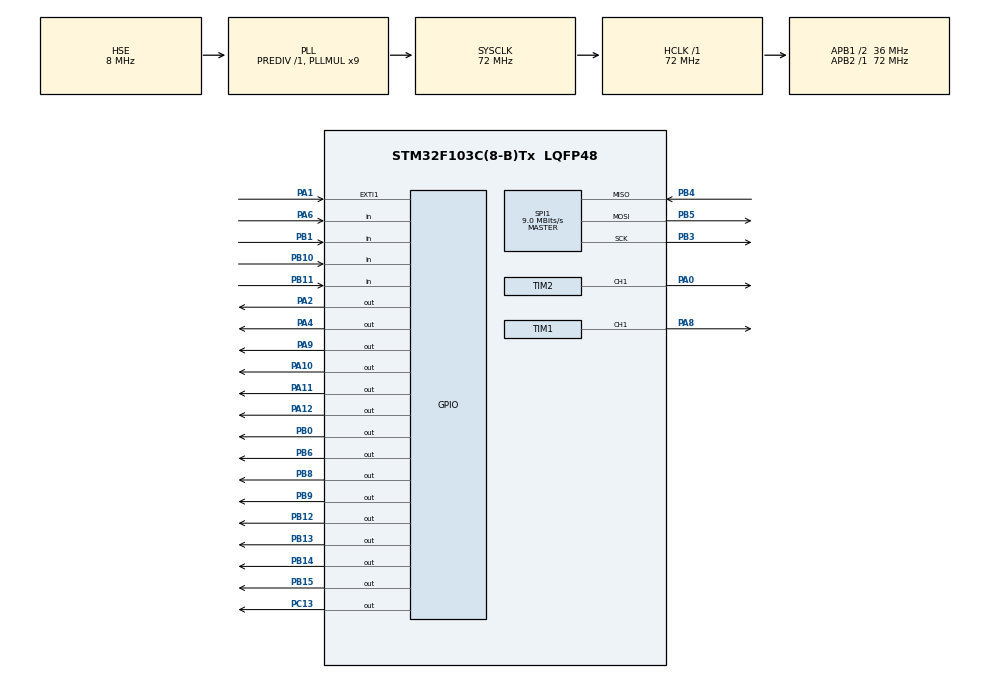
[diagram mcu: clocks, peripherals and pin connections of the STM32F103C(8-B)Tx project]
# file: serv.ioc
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Mcu.Family=STM32F1
Mcu.Name=STM32F103C(8-B)Tx
Mcu.Package=LQFP48
NVIC.PriorityGroup=NVIC_PRIORITYGROUP_4
PA0-WKUP.Signal=S_TIM2_CH1_ETR
PA1.GPIO_ModeDefaultEXTI=GPIO_MODE_IT_FALLING
PA1.Signal=GPXTI1
PA10.Signal=GPIO_Output
PA11.Signal=GPIO_Output
PA12.Signal=GPIO_Output
PA13.Mode=Serial_Wire
PA13.Signal=SYS_JTMS-SWDIO
PA14.Mode=Serial_Wire
PA14.Signal=SYS_JTCK-SWCLK
PA2.Signal=GPIO_Output
PA4.Signal=GPIO_Output
PA6.Signal=GPIO_Input
PA8.Signal=S_TIM1_CH1
PA9.Signal=GPIO_Output
PB0.Signal=GPIO_Output
PB1.Signal=GPIO_Input
PB10.Signal=GPIO_Input
PB11.Signal=GPIO_Input
PB12.Signal=GPIO_Output
PB13.Signal=GPIO_Output
PB14.Signal=GPIO_Output
PB15.Signal=GPIO_Output
PB3.Mode=Full_Duplex_Master
PB3.Signal=SPI1_SCK
PB4.Mode=Full_Duplex_Master
PB4.Signal=SPI1_MISO
PB5.Mode=Full_Duplex_Master
PB5.Signal=SPI1_MOSI
PB6.Signal=GPIO_Output
PB8.Signal=GPIO_Output
PB9.Signal=GPIO_Output
PC13-TAMPER-RTC.Signal=GPIO_Output
PD0-OSC_IN.Mode=HSE-External-Oscillator
PD0-OSC_IN.Signal=RCC_OSC_IN
PD1-OSC_OUT.Mode=HSE-External-Oscillator
PD1-OSC_OUT.Signal=RCC_OSC_OUT
ProjectManager.HeapSize=0x200
ProjectManager.StackSize=0x400
ProjectManager.TargetToolchain=STM32CubeIDE
RCC.AHBFreq_Value=72000000
RCC.APB1CLKDivider=RCC_HCLK_DIV2
RCC.APB1Freq_Value=36000000
RCC.APB1TimFreq_Value=72000000
RCC.APB2Freq_Value=72000000
RCC.APB2TimFreq_Value=72000000
RCC.HCLKFreq_Value=72000000
RCC.PLLMUL=RCC_PLL_MUL9
RCC.PLLSourceVirtual=RCC_PLLSOURCE_HSE
RCC.SYSCLKFreq_VALUE=72000000
RCC.SYSCLKSource=RCC_SYSCLKSOURCE_PLLCLK
RCC.USBFreq_Value=72000000
SH.S_TIM1_CH1.0=TIM1_CH1,PWM Generation1 CH1
SH.S_TIM2_CH1_ETR.0=TIM2_CH1,PWM Generation1 CH1
SPI1.BaudRatePrescaler=SPI_BAUDRATEPRESCALER_8
SPI1.CalculateBaudRate=9.0 MBits/s
SPI1.Direction=SPI_DIRECTION_2LINES
SPI1.Mode=SPI_MODE_MASTER
SPI1.VirtualType=VM_MASTER
TIM1.Channel-PWM\ Generation1\ CH1=TIM_CHANNEL_1
TIM1.Period=19999
TIM1.Prescaler=71
TIM2.Channel-PWM\ Generation1\ CH1=TIM_CHANNEL_1
TIM2.Period=19999
TIM2.Prescaler=71
VP_TIM1_VS_ClockSourceINT.Mode=Internal
VP_TIM2_VS_ClockSourceINT.Mode=Internal
board=custom

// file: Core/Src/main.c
/* USER CODE BEGIN Header */
/**
  ******************************************************************************
  * @file           : main.c
  * @brief          : Main program body
  ******************************************************************************
  * @attention
  *
  * Copyright (c) 2024 STMicroelectronics.
  * All rights reserved.
  *
  * This software is licensed under terms that can be found in the LICENSE file
  * in the root directory of this software component.
  * If no LICENSE file comes with this software, it is provided AS-IS.
  *
  ******************************************************************************
  */
/* USER CODE END Header */
#include "main.h"

/* USER CODE BEGIN Includes */
#include "rc522.h"

/* USER CODE END Includes */

/* USER CODE BEGIN PTD */
#define MAX_LEN 16
/* USER CODE END PTD */

SPI_HandleTypeDef hspi1;

TIM_HandleTypeDef htim1;
TIM_HandleTypeDef htim2;

/* USER CODE BEGIN PV */
uint8_t status;
uint8_t str[MAX_LEN]; // Max_LEN = 16
uint8_t sNum[5];
/* USER CODE BEGIN 0 */

#define SER_PIN GPIO_PIN_6
#define SER_PORT GPIOB
#define RCLK_PIN GPIO_PIN_8
#define RCLK_PORT GPIOB
#define SRCLK_PIN GPIO_PIN_9
#define SRCLK_PORT GPIOB

uint8_t number[10] =   {0b01110111,
                        0b00010100,
                        0b10110011,
                        0b10110110,
                        0b11010100,
                        0b11100110,
                        0b11100111,
                        0b00110100,
                        0b11110111,
                        0b11110110};

/* USER CODE END PV */

void SystemClock_Config(void);
static void MX_GPIO_Init(void);
static void MX_TIM1_Init(void);
static void MX_SPI1_Init(void);
static void MX_TIM2_Init(void);
/* USER CODE BEGIN PFP */

/* USER CODE BEGIN PFP */

/* USER CODE END PFP */

/* USER CODE BEGIN 0 */

#define SER_PIN GPIO_PIN_6
#define SER_PORT GPIOB
#define RCLK_PIN GPIO_PIN_8
#define RCLK_PORT GPIOB
#define SRCLK_PIN GPIO_PIN_9
#define SRCLK_PORT GPIOB

/* USER CODE END PV */

/* Private function prototypes -----------------------------------------------*/
void SystemClock_Config(void);
static void MX_GPIO_Init(void);
static void MX_TIM1_Init(void);
static void MX_SPI1_Init(void);
static void MX_TIM2_Init(void);
/* USER CODE BEGIN PFP */

/* USER CODE BEGIN PFP */

/* USER CODE END PFP */

/* Private user code ---------------------------------------------------------*/
/* USER CODE BEGIN 0 */

#define SER_PIN GPIO_PIN_6
#define SER_PORT GPIOB
#define RCLK_PIN GPIO_PIN_8
#define RCLK_PORT GPIOB
#define SRCLK_PIN GPIO_PIN_9
#define SRCLK_PORT GPIOB

/* USER CODE END PV */

/* Private function prototypes -----------------------------------------------*/
void SystemClock_Config(void);
static void MX_GPIO_Init(void);
static void MX_TIM1_Init(void);
static void MX_SPI1_Init(void);
static void MX_TIM2_Init(void);
/* USER CODE BEGIN PFP */

/* USER CODE BEGIN PFP */

/* USER CODE END PFP */

/* Private user code ---------------------------------------------------------*/
/* USER CODE BEGIN 0 */

#define SER_PIN GPIO_PIN_6
#define SER_PORT GPIOB
#define RCLK_PIN GPIO_PIN_8
#define RCLK_PORT GPIOB
#define SRCLK_PIN GPIO_PIN_9
#define SRCLK_PORT GPIOB

/* USER CODE END PV */

/* Private function prototypes -----------------------------------------------*/
void SystemClock_Config(void);
static void MX_GPIO_Init(void);
static void MX_TIM1_Init(void);
static void MX_SPI1_Init(void);
static void MX_TIM2_Init(void);
/* USER CODE BEGIN PFP */

/* USER CODE BEGIN PFP */

/* USER CODE END PFP */

/* Private user code ---------------------------------------------------------*/
/* USER CODE BEGIN 0 */

#define SER_PIN GPIO_PIN_6
#define SER_PORT GPIOB
#define RCLK_PIN GPIO_PIN_8
#define RCLK_PORT GPIOB
#define SRCLK_PIN GPIO_PIN_9
#define SRCLK_PORT GPIOB

/* USER CODE END PV */

/* Private function prototypes -----------------------------------------------*/
void SystemClock_Config(void);
static void MX_GPIO_Init(void);
static void MX_TIM1_Init(void);
static void MX_SPI1_Init(void);
static void MX_TIM2_Init(void);
/* USER CODE BEGIN PFP */

/* USER CODE BEGIN PFP */

/* USER CODE END PFP */

/* Private user code ---------------------------------------------------------*/
/* USER CODE BEGIN 0 */

#define SER_PIN GPIO_PIN_6
#define SER_PORT GPIOB
#define RCLK_PIN GPIO_PIN_8
#define RCLK_PORT GPIOB
#define SRCLK_PIN GPIO_PIN_9
#define SRCLK_PORT GPIOB

/* USER CODE END PV */

/* Private function prototypes -----------------------------------------------*/
void SystemClock_Config(void);
static void MX_GPIO_Init(void);
static void MX_TIM1_Init(void);
static void MX_SPI1_Init(void);
static void MX_TIM2_Init(void);
/* USER CODE BEGIN PFP */

/* USER CODE BEGIN PFP */

/* USER CODE END PFP */

/* Private user code ---------------------------------------------------------*/
/* USER CODE BEGIN 0 */

#define SER_PIN GPIO_PIN_6
#define SER_PORT GPIOB
#define RCLK_PIN GPIO_PIN_8
#define RCLK_PORT GPIOB
#define SRCLK_PIN GPIO_PIN_9
#define SRCLK_PORT GPIOB

/* USER CODE END PV */

/* Private function prototypes -----------------------------------------------*/
void SystemClock_Config(void);
static void MX_GPIO_Init(void);
static void MX_TIM1_Init(void);
static void MX_SPI1_Init(void);
static void MX_TIM2_Init(void);
/* USER CODE BEGIN PFP */

/* USER CODE BEGIN PFP */

/* USER CODE END PFP */

/* Private user code ---------------------------------------------------------*/
/* USER CODE BEGIN 0 */

#define SER_PIN GPIO_PIN_6
#define SER_PORT GPIOB
#define RCLK_PIN GPIO_PIN_8
#define RCLK_PORT GPIOB
#define SRCLK_PIN GPIO_PIN_9
#define SRCLK_PORT GPIOB

/* USER CODE END PV */

/* Private function prototypes -----------------------------------------------*/
void SystemClock_Config(void);
static void MX_GPIO_Init(void);
static void MX_TIM1_Init(void);
static void MX_SPI1_Init(void);
static void MX_TIM2_Init(void);
/* USER CODE BEGIN PFP */

/* USER CODE BEGIN PFP */

/* USER CODE END PFP */

/* Private user code ---------------------------------------------------------*/
/* USER CODE BEGIN 0 */

#define SER_PIN GPIO_PIN_6
#define SER_PORT GPIOB
#define RCLK_PIN GPIO_PIN_8
#define RCLK_PORT GPIOB
#define SRCLK_PIN GPIO_PIN_9
#define SRCLK_PORT GPIOB

/* USER CODE END PV */

/* Private function prototypes -----------------------------------------------*/
void SystemClock_Config(void);
static void MX_GPIO_Init(void);
static void MX_TIM1_Init(void);
static void MX_SPI1_Init(void);
static void MX_TIM2_Init(void);
/* USER CODE BEGIN PFP */

/* USER CODE BEGIN PFP */

/* USER CODE END PFP */

/* Private user code ---------------------------------------------------------*/
/* USER CODE BEGIN 0 */

#define SER_PIN GPIO_PIN_6
#define SER_PORT GPIOB
#define RCLK_PIN GPIO_PIN_8
#define RCLK_PORT GPIOB
#define SRCLK_PIN GPIO_PIN_9
#define SRCLK_PORT GPIOB

/* USER CODE END PV */

/* Private function prototypes -----------------------------------------------*/
void SystemClock_Config(void);
static void MX_GPIO_Init(void);
static void MX_TIM1_Init(void);
static void MX_SPI1_Init(void);
static void MX_TIM2_Init(void);
/* USER CODE BEGIN PFP */

/* USER CODE BEGIN PFP */

/* USER CODE END PFP */

/* Private user code ---------------------------------------------------------*/
/* USER CODE BEGIN 0 */

/* USER CODE END PV */

/* Private function prototypes -----------------------------------------------*/
void SystemClock_Config(void);
static void MX_GPIO_Init(void);
static void MX_TIM1_Init(void);
static void MX_SPI1_Init(void);
static void MX_TIM2_Init(void);
/* USER CODE BEGIN PFP */

/* USER CODE BEGIN PFP */

/* USER CODE END PFP */

/* Private user code ---------------------------------------------------------*/
/* USER CODE BEGIN 0 */
void HC595write(uint8_t val);
void EXTI1_IRQHandler(void);
// Function prototype (declaration)
void checkSensor(GPIO_TypeDef *sensor_port, uint16_t sensor_pin, GPIO_TypeDef *led_green_port, uint16_t led_green_pin, GPIO_TypeDef *led_red_port, uint16_t led_red_pin, int *available_slots);
volatile int available_slots = 4;
void openServo(void);
void closeServo(void);

volatile uint8_t servo_action_flag = 0;  // Global flag for servo action

/* USER CODE END 0 */

int main(void)
{

  /* MCU Configuration--------------------------------------------------------*/

  /* Reset of all peripherals, Initializes the Flash interface and the Systick. */
  HAL_Init();

  /* Configure the system clock */
  SystemClock_Config();

  /* Initialize all configured peripherals */
  MX_GPIO_Init();
  MX_TIM1_Init();
  MX_SPI1_Init();
  MX_TIM2_Init();
  /* USER CODE BEGIN 2 */

  MFRC522_Init();

//  __HAL_TIM_SET_COMPARE(&htim3, TIM_CHANNEL_1, 1000);

  HAL_TIM_Base_Start(&htim1);
  HAL_TIM_PWM_Start(&htim1, TIM_CHANNEL_1);
  HAL_TIM_PWM_Start(&htim2, TIM_CHANNEL_1);

  /* USER CODE END 2 */

  /* Infinite loop */
  /* USER CODE BEGIN WHILE */
  while (1)
  {
//

      int available_slots = 4;

      // Check each sensor and control LEDs
      checkSensor(GPIOB, GPIO_PIN_11, GPIOB, GPIO_PIN_12, GPIOB, GPIO_PIN_13, &available_slots);
      checkSensor(GPIOB, GPIO_PIN_10, GPIOB, GPIO_PIN_14, GPIOB, GPIO_PIN_15, &available_slots);
      checkSensor(GPIOB, GPIO_PIN_1, GPIOA, GPIO_PIN_9, GPIOA, GPIO_PIN_10, &available_slots);
      checkSensor(GPIOA, GPIO_PIN_6, GPIOA, GPIO_PIN_11, GPIOA, GPIO_PIN_12, &available_slots);

      // Display the available slots on the 7-segment display
      HC595write(number[available_slots]);
      // RFID scanning
      status = MFRC522_Request(PICC_REQIDL, str);
      status = MFRC522_Anticoll(str);
      memcpy(sNum, str, 5);
      HAL_Delay(100);

      if ((str[0] == 53) && (str[1] == 114) && (str[2] == 40) && (str[3] == 79) && (str[4] == 32))
      {
          if (available_slots > 0)
          {
              // Valid card and available slots
              openServo();
              HAL_Delay(3000);  // Keep the servo open for 3 seconds
              closeServo();

              // Update slot availability (e.g., decrement by 1)
              available_slots--;
          }
          else
          {
              // Slots full, do not open servo
              HAL_GPIO_WritePin(GPIOC, GPIO_PIN_13, GPIO_PIN_SET);  // Turn on an LED to indicate full slots
          }
      }
      else
      {
          HAL_GPIO_WritePin(GPIOC, GPIO_PIN_13, GPIO_PIN_RESET);  // Turn off the LED for invalid card
      }

      HAL_Delay(500);  // Update loop every 500ms

      if (servo_action_flag) {
          __HAL_TIM_SET_COMPARE(&htim1, TIM_CHANNEL_1, 1000);  // Servo open position
          HAL_Delay(3000);  // Delay in main loop (safe here)
          __HAL_TIM_SET_COMPARE(&htim1, TIM_CHANNEL_1, 2000);  // Servo close position
          HAL_Delay(3000);

          servo_action_flag = 0;  // Reset flag
      }
//  }

//
////      __HAL_TIM_SET_COMPARE(&htim1, TIM_CHANNEL_1, 600);
////      HAL_Delay(1500);
////      __HAL_TIM_SET_COMPARE(&htim1, TIM_CHANNEL_1, 1800);
////      HAL_Delay(1500);
//
//      __HAL_TIM_SET_COMPARE(&htim2, TIM_CHANNEL_1, 600);
//      HAL_Delay(1500);
//      __HAL_TIM_SET_COMPARE(&htim2, TIM_CHANNEL_1, 1800);
//      HAL_Delay(1500);

//	  code for the rfid
//	  status = MFRC522_Request(PICC_REQIDL, str);
//	  status = MFRC522_Anticoll(str);
//	  memcpy(sNum, str, 5);
//	  HAL_Delay(100);
//	   if((str[0]==53 ) && (str[1]==114) && (str[2]==40) && (str[3]==79) && (str[4]==32) )
//	   {
//	     HAL_GPIO_WritePin(GPIOC,GPIO_PIN_13,0);
//	     HAL_Delay(100);
//	     }
//	   else if((str[0]==199) && (str[1]==102) && (str[2]==209) && (str[3]==215) && (str[4]==167) )
//	     {
//	     HAL_GPIO_WritePin(GPIOC,GPIO_PIN_13,0);
//	     HAL_Delay(2000);
//	   }
//	   else
//	   {
//	     HAL_GPIO_WritePin(GPIOC,GPIO_PIN_13,1);
//	   }

  }

    /* USER CODE END WHILE */

}

void SystemClock_Config(void)
{
  RCC_OscInitTypeDef RCC_OscInitStruct = {0};
  RCC_ClkInitTypeDef RCC_ClkInitStruct = {0};

  /** Initializes the RCC Oscillators according to the specified parameters
  * in the RCC_OscInitTypeDef structure.
  */
  RCC_OscInitStruct.OscillatorType = RCC_OSCILLATORTYPE_HSE;
  RCC_OscInitStruct.HSEState = RCC_HSE_ON;
  RCC_OscInitStruct.HSEPredivValue = RCC_HSE_PREDIV_DIV1;
  RCC_OscInitStruct.HSIState = RCC_HSI_ON;
  RCC_OscInitStruct.PLL.PLLState = RCC_PLL_ON;
  RCC_OscInitStruct.PLL.PLLSource = RCC_PLLSOURCE_HSE;
  RCC_OscInitStruct.PLL.PLLMUL = RCC_PLL_MUL9;
  if (HAL_RCC_OscConfig(&RCC_OscInitStruct) != HAL_OK)
  {
    Error_Handler();
  }

  /** Initializes the CPU, AHB and APB buses clocks
  */
  RCC_ClkInitStruct.ClockType = RCC_CLOCKTYPE_HCLK|RCC_CLOCKTYPE_SYSCLK
                              |RCC_CLOCKTYPE_PCLK1|RCC_CLOCKTYPE_PCLK2;
  RCC_ClkInitStruct.SYSCLKSource = RCC_SYSCLKSOURCE_PLLCLK;
  RCC_ClkInitStruct.AHBCLKDivider = RCC_SYSCLK_DIV1;
  RCC_ClkInitStruct.APB1CLKDivider = RCC_HCLK_DIV2;
  RCC_ClkInitStruct.APB2CLKDivider = RCC_HCLK_DIV1;

  if (HAL_RCC_ClockConfig(&RCC_ClkInitStruct, FLASH_LATENCY_2) != HAL_OK)
  {
    Error_Handler();
  }
}

static void MX_SPI1_Init(void)
{

  /* SPI1 parameter configuration*/
  hspi1.Instance = SPI1;
  hspi1.Init.Mode = SPI_MODE_MASTER;
  hspi1.Init.Direction = SPI_DIRECTION_2LINES;
  hspi1.Init.DataSize = SPI_DATASIZE_8BIT;
  hspi1.Init.CLKPolarity = SPI_POLARITY_LOW;
  hspi1.Init.CLKPhase = SPI_PHASE_1EDGE;
  hspi1.Init.NSS = SPI_NSS_SOFT;
  hspi1.Init.BaudRatePrescaler = SPI_BAUDRATEPRESCALER_8;
  hspi1.Init.FirstBit = SPI_FIRSTBIT_MSB;
  hspi1.Init.TIMode = SPI_TIMODE_DISABLE;
  hspi1.Init.CRCCalculation = SPI_CRCCALCULATION_DISABLE;
  hspi1.Init.CRCPolynomial = 10;
  if (HAL_SPI_Init(&hspi1) != HAL_OK)
  {
    Error_Handler();
  }

}

static void MX_TIM1_Init(void)
{

  TIM_ClockConfigTypeDef sClockSourceConfig = {0};
  TIM_MasterConfigTypeDef sMasterConfig = {0};
  TIM_OC_InitTypeDef sConfigOC = {0};
  TIM_BreakDeadTimeConfigTypeDef sBreakDeadTimeConfig = {0};

  htim1.Instance = TIM1;
  htim1.Init.Prescaler = 71;
  htim1.Init.CounterMode = TIM_COUNTERMODE_UP;
  htim1.Init.Period = 19999;
  htim1.Init.ClockDivision = TIM_CLOCKDIVISION_DIV1;
  htim1.Init.RepetitionCounter = 0;
  htim1.Init.AutoReloadPreload = TIM_AUTORELOAD_PRELOAD_DISABLE;
  if (HAL_TIM_Base_Init(&htim1) != HAL_OK)
  {
    Error_Handler();
  }
  sClockSourceConfig.ClockSource = TIM_CLOCKSOURCE_INTERNAL;
  if (HAL_TIM_ConfigClockSource(&htim1, &sClockSourceConfig) != HAL_OK)
  {
    Error_Handler();
  }
  if (HAL_TIM_PWM_Init(&htim1) != HAL_OK)
  {
    Error_Handler();
  }
  sMasterConfig.MasterOutputTrigger = TIM_TRGO_RESET;
  sMasterConfig.MasterSlaveMode = TIM_MASTERSLAVEMODE_DISABLE;
  if (HAL_TIMEx_MasterConfigSynchronization(&htim1, &sMasterConfig) != HAL_OK)
  {
    Error_Handler();
  }
  sConfigOC.OCMode = TIM_OCMODE_PWM1;
  sConfigOC.Pulse = 0;
  sConfigOC.OCPolarity = TIM_OCPOLARITY_HIGH;
  sConfigOC.OCNPolarity = TIM_OCNPOLARITY_HIGH;
  sConfigOC.OCFastMode = TIM_OCFAST_DISABLE;
  sConfigOC.OCIdleState = TIM_OCIDLESTATE_RESET;
  sConfigOC.OCNIdleState = TIM_OCNIDLESTATE_RESET;
  if (HAL_TIM_PWM_ConfigChannel(&htim1, &sConfigOC, TIM_CHANNEL_1) != HAL_OK)
  {
    Error_Handler();
  }
  sBreakDeadTimeConfig.OffStateRunMode = TIM_OSSR_DISABLE;
  sBreakDeadTimeConfig.OffStateIDLEMode = TIM_OSSI_DISABLE;
  sBreakDeadTimeConfig.LockLevel = TIM_LOCKLEVEL_OFF;
  sBreakDeadTimeConfig.DeadTime = 0;
  sBreakDeadTimeConfig.BreakState = TIM_BREAK_DISABLE;
  sBreakDeadTimeConfig.BreakPolarity = TIM_BREAKPOLARITY_HIGH;
  sBreakDeadTimeConfig.AutomaticOutput = TIM_AUTOMATICOUTPUT_DISABLE;
  if (HAL_TIMEx_ConfigBreakDeadTime(&htim1, &sBreakDeadTimeConfig) != HAL_OK)
  {
    Error_Handler();
  }
  HAL_TIM_MspPostInit(&htim1);

}

static void MX_TIM2_Init(void)
{

  TIM_ClockConfigTypeDef sClockSourceConfig = {0};
  TIM_MasterConfigTypeDef sMasterConfig = {0};
  TIM_OC_InitTypeDef sConfigOC = {0};

  htim2.Instance = TIM2;
  htim2.Init.Prescaler = 71;
  htim2.Init.CounterMode = TIM_COUNTERMODE_UP;
  htim2.Init.Period = 19999;
  htim2.Init.ClockDivision = TIM_CLOCKDIVISION_DIV1;
  htim2.Init.AutoReloadPreload = TIM_AUTORELOAD_PRELOAD_DISABLE;
  if (HAL_TIM_Base_Init(&htim2) != HAL_OK)
  {
    Error_Handler();
  }
  sClockSourceConfig.ClockSource = TIM_CLOCKSOURCE_INTERNAL;
  if (HAL_TIM_ConfigClockSource(&htim2, &sClockSourceConfig) != HAL_OK)
  {
    Error_Handler();
  }
  if (HAL_TIM_PWM_Init(&htim2) != HAL_OK)
  {
    Error_Handler();
  }
  sMasterConfig.MasterOutputTrigger = TIM_TRGO_RESET;
  sMasterConfig.MasterSlaveMode = TIM_MASTERSLAVEMODE_DISABLE;
  if (HAL_TIMEx_MasterConfigSynchronization(&htim2, &sMasterConfig) != HAL_OK)
  {
    Error_Handler();
  }
  sConfigOC.OCMode = TIM_OCMODE_PWM1;
  sConfigOC.Pulse = 0;
  sConfigOC.OCPolarity = TIM_OCPOLARITY_HIGH;
  sConfigOC.OCFastMode = TIM_OCFAST_DISABLE;
  if (HAL_TIM_PWM_ConfigChannel(&htim2, &sConfigOC, TIM_CHANNEL_1) != HAL_OK)
  {
    Error_Handler();
  }
  HAL_TIM_MspPostInit(&htim2);

}

static void MX_GPIO_Init(void)
{
  GPIO_InitTypeDef GPIO_InitStruct = {0};

  /* GPIO Ports Clock Enable */
  __HAL_RCC_GPIOC_CLK_ENABLE();
  __HAL_RCC_GPIOD_CLK_ENABLE();
  __HAL_RCC_GPIOA_CLK_ENABLE();
  __HAL_RCC_GPIOB_CLK_ENABLE();

  /*Configure GPIO pin Output Level */
  HAL_GPIO_WritePin(GPIOC, GPIO_PIN_13, GPIO_PIN_RESET);

  /*Configure GPIO pin Output Level */
  HAL_GPIO_WritePin(GPIOA, GPIO_PIN_2|GPIO_PIN_4|GPIO_PIN_9|GPIO_PIN_10
                          |GPIO_PIN_11|GPIO_PIN_12, GPIO_PIN_RESET);

  /*Configure GPIO pin Output Level */
  HAL_GPIO_WritePin(GPIOB, GPIO_PIN_0|GPIO_PIN_12|GPIO_PIN_13|GPIO_PIN_14
                          |GPIO_PIN_15|GPIO_PIN_6|GPIO_PIN_8|GPIO_PIN_9, GPIO_PIN_RESET);

  /*Configure GPIO pin : PC13 */
  GPIO_InitStruct.Pin = GPIO_PIN_13;
  GPIO_InitStruct.Mode = GPIO_MODE_OUTPUT_PP;
  GPIO_InitStruct.Pull = GPIO_NOPULL;
  GPIO_InitStruct.Speed = GPIO_SPEED_FREQ_LOW;
  HAL_GPIO_Init(GPIOC, &GPIO_InitStruct);

  /*Configure GPIO pin : PA1 */
  GPIO_InitStruct.Pin = GPIO_PIN_1;
  GPIO_InitStruct.Mode = GPIO_MODE_IT_FALLING;
  GPIO_InitStruct.Pull = GPIO_NOPULL;
  HAL_GPIO_Init(GPIOA, &GPIO_InitStruct);

  /*Configure GPIO pins : PA2 PA4 PA9 PA10
                           PA11 PA12 */
  GPIO_InitStruct.Pin = GPIO_PIN_2|GPIO_PIN_4|GPIO_PIN_9|GPIO_PIN_10
                          |GPIO_PIN_11|GPIO_PIN_12;
  GPIO_InitStruct.Mode = GPIO_MODE_OUTPUT_PP;
  GPIO_InitStruct.Pull = GPIO_NOPULL;
  GPIO_InitStruct.Speed = GPIO_SPEED_FREQ_LOW;
  HAL_GPIO_Init(GPIOA, &GPIO_InitStruct);

  /*Configure GPIO pin : PA6 */
  GPIO_InitStruct.Pin = GPIO_PIN_6;
  GPIO_InitStruct.Mode = GPIO_MODE_INPUT;
  GPIO_InitStruct.Pull = GPIO_NOPULL;
  HAL_GPIO_Init(GPIOA, &GPIO_InitStruct);

  /*Configure GPIO pins : PB0 PB12 PB13 PB14
                           PB15 PB6 PB8 PB9 */
  GPIO_InitStruct.Pin = GPIO_PIN_0|GPIO_PIN_12|GPIO_PIN_13|GPIO_PIN_14
                          |GPIO_PIN_15|GPIO_PIN_6|GPIO_PIN_8|GPIO_PIN_9;
  GPIO_InitStruct.Mode = GPIO_MODE_OUTPUT_PP;
  GPIO_InitStruct.Pull = GPIO_NOPULL;
  GPIO_InitStruct.Speed = GPIO_SPEED_FREQ_LOW;
  HAL_GPIO_Init(GPIOB, &GPIO_InitStruct);

  /*Configure GPIO pins : PB1 PB10 PB11 */
  GPIO_InitStruct.Pin = GPIO_PIN_1|GPIO_PIN_10|GPIO_PIN_11;
  GPIO_InitStruct.Mode = GPIO_MODE_INPUT;
  GPIO_InitStruct.Pull = GPIO_NOPULL;
  HAL_GPIO_Init(GPIOB, &GPIO_InitStruct);

/* USER CODE BEGIN MX_GPIO_Init_2 */
  HAL_NVIC_SetPriority(EXTI1_IRQn, 2, 0);
  HAL_NVIC_EnableIRQ(EXTI1_IRQn);

/* USER CODE END MX_GPIO_Init_2 */
}

/* USER CODE BEGIN 4 */
// Function definition (implementation)
void checkSensor(GPIO_TypeDef *sensor_port, uint16_t sensor_pin, GPIO_TypeDef *led_green_port, uint16_t led_green_pin, GPIO_TypeDef *led_red_port, uint16_t led_red_pin, int *available_slots) {
    if (HAL_GPIO_ReadPin(sensor_port, sensor_pin) == GPIO_PIN_RESET) {
        HAL_GPIO_WritePin(led_green_port, led_green_pin, GPIO_PIN_SET);  // Green LED ON
        HAL_GPIO_WritePin(led_red_port, led_red_pin, GPIO_PIN_RESET);   // Red LED OFF
        (*available_slots)--;
    } else {
        HAL_GPIO_WritePin(led_green_port, led_green_pin, GPIO_PIN_RESET); // Green LED OFF
        HAL_GPIO_WritePin(led_red_port, led_red_pin, GPIO_PIN_SET);      // Red LED ON
    }
}
void HC595write(uint8_t val)
{
    for(int i = 0; i < 8; i++)
    {
        if(val & (1 << i))
        {
            HAL_GPIO_WritePin(SER_PORT, SER_PIN, GPIO_PIN_SET);
        }
        else
        {
            HAL_GPIO_WritePin(SER_PORT, SER_PIN, GPIO_PIN_RESET);
        }
        HAL_GPIO_WritePin(SRCLK_PORT, SRCLK_PIN, GPIO_PIN_SET);
        HAL_GPIO_WritePin(SRCLK_PORT, SRCLK_PIN, GPIO_PIN_RESET);
    }
    HAL_GPIO_WritePin(RCLK_PORT, RCLK_PIN, GPIO_PIN_SET);
    HAL_GPIO_WritePin(RCLK_PORT, RCLK_PIN, GPIO_PIN_RESET);
}

// ISR for EXTI Line (IR sensor interrupt)
void EXTI1_IRQHandler(void) {
    if (__HAL_GPIO_EXTI_GET_IT(GPIO_PIN_1)) {
        __HAL_GPIO_EXTI_CLEAR_IT(GPIO_PIN_1);
        if (HAL_GPIO_ReadPin(GPIOA, GPIO_PIN_1) == GPIO_PIN_RESET) {
            HAL_GPIO_WritePin(GPIOA, GPIO_PIN_2, GPIO_PIN_SET);  // Turn on LED
            servo_action_flag = 1;  // Set flag to move servo in main loop
        } else {
            HAL_GPIO_WritePin(GPIOA, GPIO_PIN_2, GPIO_PIN_RESET);  // Turn off LED
        }
    }
}

// Function to open the servo
void openServo(void)
{
    __HAL_TIM_SET_COMPARE(&htim2, TIM_CHANNEL_1, 1000);  // Adjust for your servo's open position
}

// Function to close the servo
void closeServo(void)
{
    __HAL_TIM_SET_COMPARE(&htim2, TIM_CHANNEL_1, 2000);  // Adjust for your servo's closed position
}
/* USER CODE END 4 */

void Error_Handler(void)
{
  __disable_irq();
  while (1)
  {
  }
}
